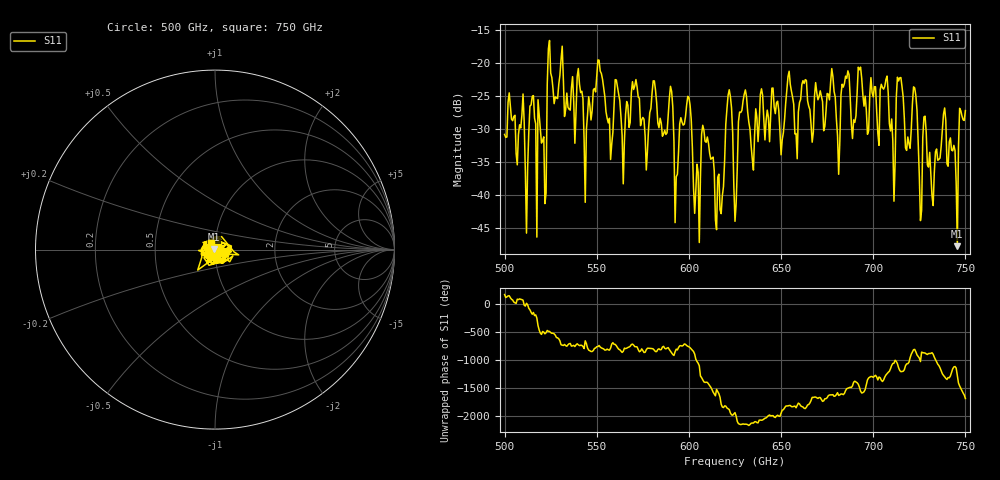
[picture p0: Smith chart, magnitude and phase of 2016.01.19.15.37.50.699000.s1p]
!Created with skrf (http://scikit-rf.org).
# GHz S RI R 50.0
!freq ReS11 ImS11
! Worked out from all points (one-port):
!   401 points, 500 GHz to 750 GHz, reference 50 ohm
!   lowest |S11| = -47.8 dB at 745.6 GHz (marker M1), VSWR 1.01, Z = 49.6 + j0.088 ohm
!   |S11| at or under -10 dB: start of sweep to end of sweep
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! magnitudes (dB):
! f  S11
! 500 GHz  -30.8
! 511.9 GHz  -45.8
! 515 GHz  -25.0
! 521.2 GHz  -31.2
! 524.4 GHz  -16.5
! 531.2 GHz  -17.4
! 543.8 GHz  -41.1
! 551.2 GHz  -19.5
! 562.5 GHz  -25.6
! 590 GHz  -23.5
! 593.8 GHz  -36.8
! 600 GHz  -25.2
! 604.4 GHz  -35.3
! 608.1 GHz  -30.1
! 616.2 GHz  -36.8
! 621.9 GHz  -24.0
! 625 GHz  -44.0
! 630 GHz  -24.7
! 656.2 GHz  -25.2
! 687.5 GHz  -25.1
! 706.9 GHz  -22.5
! 710.6 GHz  -31.7
! 714.4 GHz  -22.2
! 718.8 GHz  -31.2
! 722.5 GHz  -23.7
! 725.6 GHz  -43.9
! 745.6 GHz  -47.8
! 750 GHz  -27.2
